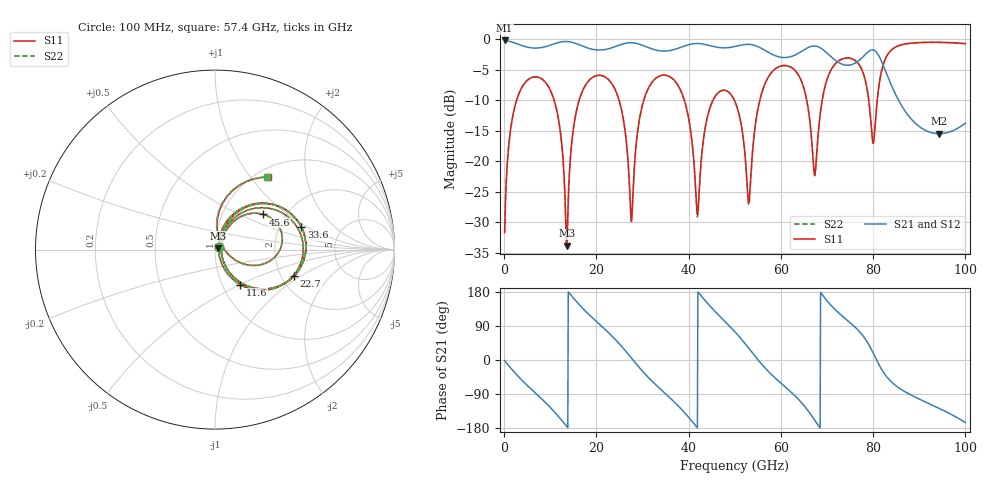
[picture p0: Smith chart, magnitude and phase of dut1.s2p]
! Touchstone file exported from HFSS 2026.1.0
!  File:  C:/ffzhzh/LocalFiles/Ansys_Project_Files/temp_train_TSV_RDL_1_1783435666_50928.aedt
!  Generated:  11:08:11 PM Jul  7, 2026
!  Design:  TSV_RDL
!  Project:  temp_train_TSV_RDL_1_1783435666_50928
! Variables:
!  h_bsmrdl = 2.72um
!  h_ox = 20um
!  h_rdl = 5um
!  h_sub = 95.86um
!  h_tmrdl = 2.43um
!  h_tsv = 95.86um
!  h_via = 3um
!  l_bsmrdl = 416.11um
!  l_sub = 4126.67um
!  l_tmrdl = 583.54um
!  m_sub = 200um
!  pitch = 54.3um
!  r_tsv = 11.5um
!  s_tmrdl = 10um
!  w_bsmrdl = 20.26um
!  w_sub = 500um
!  w_tmrdl = 27.8um
!  x_tsv_center1 = 597.44um
!  x_tsv_center2 = 1033.81um
!  x_tsv_center3 = 1645.15um
!  x_tsv_center4 = 2081.52um
!  x_tsv_center5 = 2692.86um
!  x_tsv_center6 = 3129.23um
# GHz S MA R 50.000000
! Terminal data exported
! Port[1] = TM_RDL1_1_T1
! Port[2] = TM_RDL5_1_T1
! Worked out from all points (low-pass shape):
!   1000 points, 100 MHz to 100 GHz, reference 50 ohm
!   highest |S21| = -0.19 dB at 100 MHz (marker M1); lowest = -15.5 dB at 94.3 GHz (marker M2)
!   |S21| within 3 dB of the highest: start of sweep to 71.38 GHz; 77.36 GHz to 81.56 GHz (4.197 GHz wide, 5.28 % of centre)
!   lowest |S11| = -33.9 dB at 13.6 GHz (marker M3), VSWR 1.04, Z = 51.9 + j0.701 ohm
!   |S11| at or under -10 dB: 10.83 GHz to 16.26 GHz (5.433 GHz wide, 40.1 % of centre); 39.06 GHz to 45.28 GHz (6.215 GHz wide, 14.7 % of centre); 49.92 GHz to 55.42 GHz (5.508 GHz wide, 10.5 % of centre) (the widest 3 of 7)
!   |S22| runs from -33.9 to -0.5 dB; largest |S21 - S12| = 7.5e-13
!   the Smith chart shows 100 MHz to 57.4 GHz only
!   S11 on the Smith chart (normalised r, x): 100 MHz: 1.04, +0.03; 11.6 GHz: 1.21, -0.50; 22.7 GHz: 2.35, -0.87; 33.6 GHz: 2.64, +0.89; 45.6 GHz: 1.55, +0.68; 57.4 GHz: 1.14, +1.22
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0.1  0.02598 33.1  0.9785 -1.6  0.9785 -1.6  0.02598 33.1
! Gamma 0 0 0 0
! Port Impedance 50 0 50 0
3.8  0.4004 33.7  0.8902 -52.7  0.8902 -52.7  0.4004 33.7
11.6  0.2403 -54.3  0.9376 -146.6  0.9376 -146.6  0.2403 -54.4
13.6  0.02026 19.5  0.9593 -175.7  0.9593 -175.7  0.02009 19.4
16.8  0.3621 45.7  0.8862 139.3  0.8862 139.3  0.362 45.7
22.7  0.4642 -18.2  0.838 71.4  0.838 71.4  0.4641 -18.2
27.6  0.03215 7.1  0.9373 5.0  0.9373 5.0  0.03205 7.3
33.4  0.4935 16.8  0.8086 -71.4  0.8086 -71.4  0.4936 16.7
33.6  0.4978 14.7  0.8063 -73.6  0.8063 -73.6  0.4979 14.6
39  0.3219 -43.1  0.8783 -137.4  0.8783 -137.4  0.3219 -43.3
41.9  0.03638 -0.5  0.9239 -178.9  0.9239 -178.9  0.03479 -0.6
45.6  0.3332 36.0  0.869 129.8  0.869 129.8  0.3331 36.1
50.1  0.3049 -12.9  0.8743 73.4  0.8743 73.4  0.3048 -13.1
53.1  0.04624 38.5  0.9092 30.1  0.9092 30.1  0.04416 39.1
57.4  0.499 53.9  0.7772 -31.6  0.7772 -31.6  0.4988 54.2
66.7  0.1447 -27.9  0.8771 -147.7  0.8771 -147.7  0.144 -28.1
70.9  0.563 47.8  0.7181 143.8  0.7181 143.8  0.5629 48.2
77  0.616 -10.3  0.6734 75.4  0.6734 75.4  0.6167 -9.7
80  0.1398 12.3  0.818 18.6  0.818 18.6  0.1472 12.6
83.4  0.7749 30.6  0.4711 -50.7  0.4711 -50.7  0.7754 30.4
94.3  0.9443 -37.8  0.1682 -127.5  0.1682 -127.5  0.9442 -37.8
100  0.9209 -73.1  0.2051 -165.1  0.2051 -165.1  0.9207 -73.1
